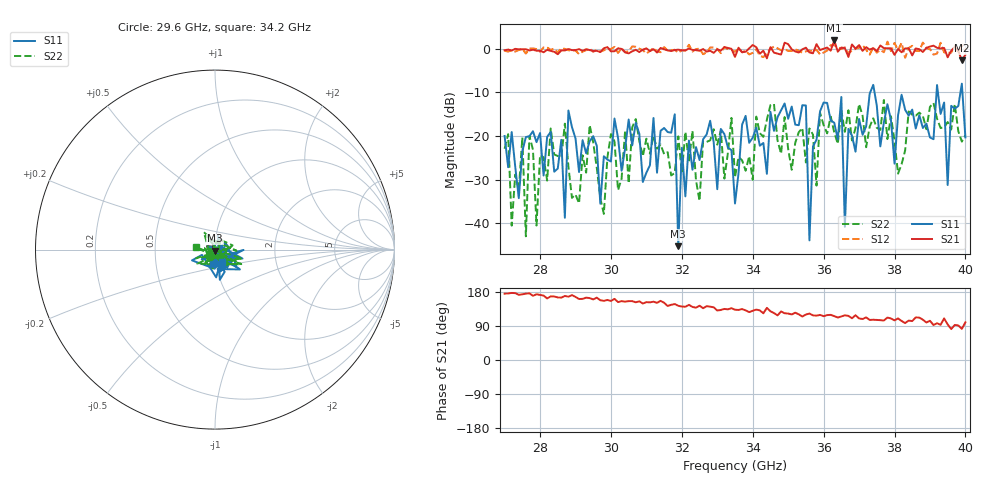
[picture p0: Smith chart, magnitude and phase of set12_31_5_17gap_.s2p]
! Quiescent point : V1=-1.69695E-02 I1=+1.30241E-03 V2=-2.27218E-02 I2=-1.29068E-03
! Pulsed point : V1=-1.64169E-02 I1=+1.29382E-03 V2=-2.24586E-02 I2=-1.28034E-03
! Period : +2.00000E-04
! Input Supply timing : delay=+1.60000E-06 width=+2.20000E-06
! Output Supply timing : delay=+1.70000E-06 width=+2.00000E-06
! VNA timing : delay=+2.40000E-06 width=+1.10000E-06
# Hz S RI R 50
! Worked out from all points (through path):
!   131 points, 27 GHz to 40 GHz, reference 50 ohm
!   highest |S21| = 1.90 dB at 36.3 GHz (marker M1); lowest = -2.6 dB at 39.9 GHz (marker M2)
!   group delay of S21, straight-line fit = 18.2 ps
!   lowest |S11| = -45.2 dB at 31.9 GHz (marker M3), VSWR 1.01, Z = 50 - j0.549 ohm
!   |S11| at or under -10 dB: start of sweep to 37.31 GHz; 37.44 GHz to 39.19 GHz (1.75 GHz wide, 4.57 % of centre); 39.23 GHz to 39.86 GHz (635.2 MHz wide, 1.61 % of centre)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
!   |S22| runs from -42.9 to -11.7 dB; largest |S21 - S12| = 0.42
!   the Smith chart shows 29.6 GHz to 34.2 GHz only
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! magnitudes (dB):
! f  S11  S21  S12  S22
! 27 GHz  -20.0  -0.3  -0.5  -22.9
! 27.6 GHz  -20.2  -0.1  -1.1  -42.9
! 27.7 GHz  -20.0  -0.4  0.0  -20.0
! 27.9 GHz  -21.4  -0.4  -0.1  -40.5
! 29.2 GHz  -20.9  -0.5  -0.7  -24.4
! 31.4 GHz  -18.8  0.2  -0.8  -21.9
! 31.8 GHz  -15.0  -0.3  -0.2  -28.4
! 31.9 GHz  -45.2  -0.2  -0.9  -20.1
! 32.8 GHz  -16.5  -0.4  0.3  -21.0
! 33.5 GHz  -35.4  -1.9  -0.7  -29.5
! 35.5 GHz  -13.0  0.3  -0.6  -26.1
! 35.6 GHz  -43.9  -0.9  -0.4  -18.3
! 35.7 GHz  -22.4  -1.0  -0.5  -19.7
! 36.3 GHz  -16.9  1.9  0.8  -19.1
! 36.5 GHz  -11.0  0.3  0.0  -14.2
! 36.6 GHz  -40.8  0.1  0.3  -19.0
! 36.7 GHz  -18.3  -1.9  -1.0  -14.1
! 37.9 GHz  -16.3  0.1  -0.5  -15.4
! 39.2 GHz  -8.3  0.2  -1.1  -16.0
! 39.5 GHz  -31.2  -1.9  -0.9  -16.8
! 39.9 GHz  -8.0  -2.6  0.8  -21.3
! 40 GHz  -20.3  -1.4  -0.1  -19.8
